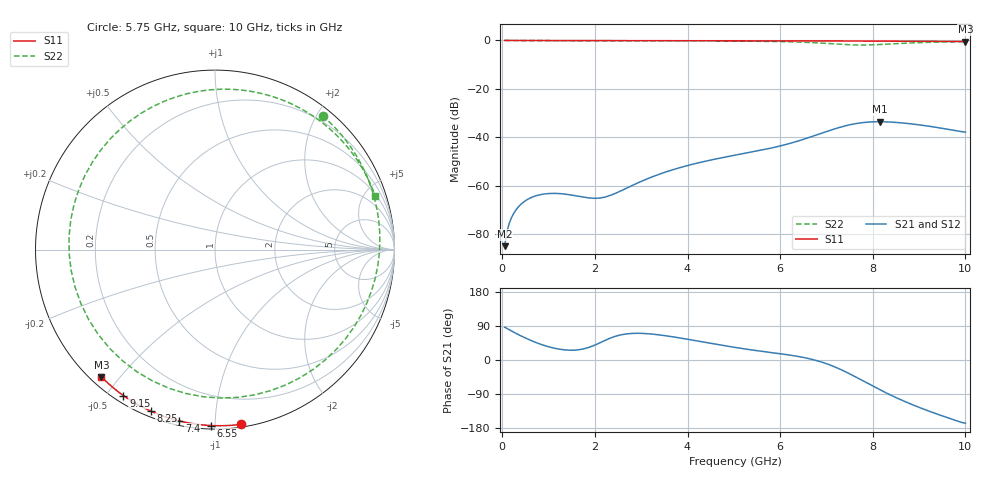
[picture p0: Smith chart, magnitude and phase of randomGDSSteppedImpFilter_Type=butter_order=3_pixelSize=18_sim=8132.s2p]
! freq	dB(S11)	phase(S11)	dB(S12)	phase(S12)
!  dB(S21)	phase(S21)	dB(S22)	phase(S22)
!S-par simulation data
#  GHz  S  DB  R 50
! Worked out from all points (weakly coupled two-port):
!   200 points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, 50 MHz to 10 GHz, reference 50 ohm
!   highest |S21| = -33.59 dB at 8.15 GHz (marker M1); lowest = -85.0 dB at 50 MHz (marker M2)
!   lowest |S11| = -0.4 dB at 10 GHz (marker M3), VSWR 39.32, Z = 1.53 - j22.4 ohm
!   |S11| at or under -10 dB: nowhere
!   |S22| runs from -1.9 to 0.0 dB; largest |S21 - S12| = 0
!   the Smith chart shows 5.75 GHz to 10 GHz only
!   S11 on the Smith chart (normalised r, x): 5.75 GHz: 0.02, -1.16; 6.55 GHz: 0.02, -0.98; 7.4 GHz: 0.02, -0.81; 8.25 GHz: 0.02, -0.68; 9.15 GHz: 0.03, -0.55; 10 GHz: 0.03, -0.45
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0.05  -0.00 -0.8  -85.02 86.6  -85.02 86.6  -0.00 -6.2
0.35  -0.01 -5.3  -68.73 66.8  -68.73 66.8  -0.05 -41.5
0.75  -0.01 -11.4  -64.07 45.0  -64.07 45.0  -0.09 -81.9
1.25  -0.02 -18.9  -63.31 28.3  -63.31 28.3  -0.11 -120.1
1.75  -0.03 -26.3  -64.75 29.1  -64.75 29.1  -0.11 -148.4
2.5  -0.05 -37.2  -62.71 64.6  -62.71 64.6  -0.12 179.0
3.4  -0.07 -50.0  -55.22 66.1  -55.22 66.1  -0.14 146.2
4.3  -0.09 -62.4  -50.28 48.3  -50.28 48.3  -0.18 114.2
5.05  -0.11 -72.4  -47.34 32.7  -47.34 32.7  -0.25 84.6
5.75  -0.14 -81.4  -44.72 20.5  -44.72 20.5  -0.38 51.2
6.55  -0.17 -91.4  -40.58 5.6  -40.58 5.6  -0.77 -1.7
6.7  -0.18 -93.3  -39.62 1.3  -39.62 1.3  -0.90 -14.7
7.05  -0.20 -97.5  -37.33 -12.0  -37.33 -12.0  -1.28 -50.4
7.4  -0.22 -101.7  -35.33 -30.4  -35.33 -30.4  -1.70 -94.5
7.8  -0.25 -106.5  -33.92 -55.8  -33.92 -55.8  -1.89 -151.1
8.15  -0.27 -110.6  -33.59 -78.4  -33.59 -78.4  -1.67 162.2
8.25  -0.28 -111.7  -33.62 -84.5  -33.62 -84.5  -1.58 150.3
8.35  -0.29 -112.9  -33.70 -90.5  -33.70 -90.5  -1.47 139.0
8.7  -0.32 -117.0  -34.21 -110.0  -34.21 -110.0  -1.13 104.5
9.15  -0.36 -122.1  -35.27 -132.0  -35.27 -132.0  -0.81 69.2
9.55  -0.39 -126.7  -36.48 -149.5  -36.48 -149.5  -0.63 43.5
10  -0.44 -131.8  -37.90 -166.7  -37.90 -166.7  -0.52 18.4
